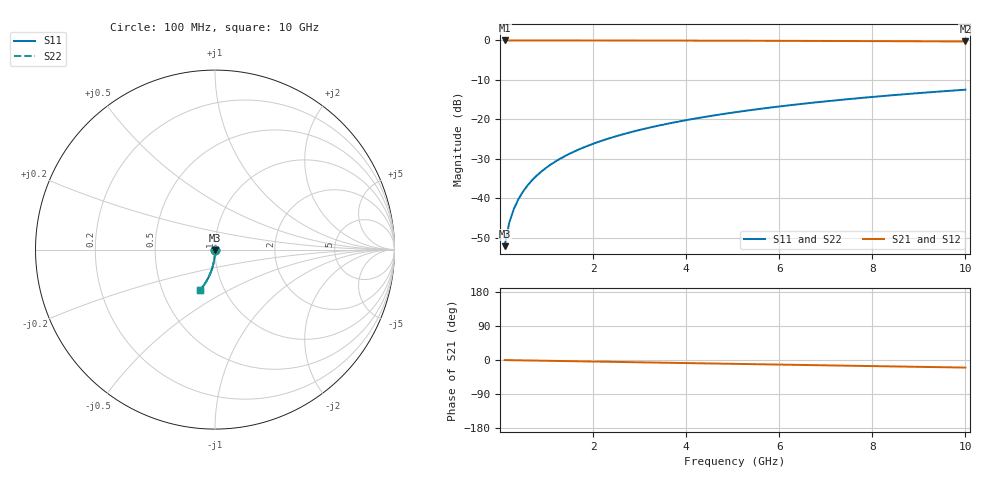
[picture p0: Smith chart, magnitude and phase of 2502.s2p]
# Hz S RI R 50.00
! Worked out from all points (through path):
!   100 points, 100 MHz to 10 GHz, reference 50 ohm
!   highest |S21| = 0.00 dB at 100 MHz (marker M1); lowest = -0.3 dB at 10 GHz (marker M2)
!   group delay of S21, straight-line fit = 5.56 ps
!   lowest |S11| = -52.2 dB at 100 MHz (marker M3), VSWR 1.00, Z = 50 - j0.245 ohm
!   |S11| at or under -10 dB: start of sweep to end of sweep
!   |S22| runs from -52.2 to -12.5 dB; largest |S21 - S12| = 0
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1e8  0.000287 -0.00245  0.9997 -0.00353  0.9997 -0.00353  0.000287 -0.00245
2e8  0.00026 -0.0049  0.9997 -0.00706  0.9997 -0.00706  0.00026 -0.0049
3e8  0.000216 -0.00735  0.9996 -0.0106  0.9996 -0.0106  0.000216 -0.00735
4e8  0.000154 -0.0098  0.9995 -0.0141  0.9995 -0.0141  0.000154 -0.0098
5e8  7.39e-05 -0.0123  0.9994 -0.0176  0.9994 -0.0176  7.39e-05 -0.0123
6e8  -2.32e-05 -0.0147  0.9993 -0.0212  0.9993 -0.0212  -2.32e-05 -0.0147
7e8  -0.000138 -0.0171  0.9992 -0.0247  0.9992 -0.0247  -0.000138 -0.0171
8e8  -0.000269 -0.0196  0.9991 -0.0282  0.9991 -0.0282  -0.000269 -0.0196
9e8  -0.000418 -0.022  0.9989 -0.0317  0.9989 -0.0317  -0.000418 -0.022
1.1e9  -0.000768 -0.0269  0.9985 -0.0388  0.9985 -0.0388  -0.000768 -0.0269
1.4e9  -0.00142 -0.0343  0.9978 -0.0494  0.9978 -0.0494  -0.00142 -0.0343
1.8e9  -0.00254 -0.044  0.9966 -0.0634  0.9966 -0.0634  -0.00254 -0.044
2.1e9  -0.00355 -0.0513  0.9956 -0.0739  0.9956 -0.0739  -0.00355 -0.0513
2.5e9  -0.00514 -0.0609  0.9939 -0.0879  0.9939 -0.0879  -0.00514 -0.0609
2.9e9  -0.00701 -0.0706  0.9919 -0.1019  0.9919 -0.1019  -0.00701 -0.0706
3.4e9  -0.00972 -0.0825  0.989 -0.1192  0.989 -0.1192  -0.00972 -0.0825
4.2e9  -0.0149 -0.1013  0.9834 -0.1467  0.9834 -0.1467  -0.0149 -0.1013
5.1e9  -0.022 -0.1221  0.9758 -0.1772  0.9758 -0.1772  -0.022 -0.1221
5.9e9  -0.0293 -0.1401  0.9679 -0.2039  0.9679 -0.2039  -0.0293 -0.1401
6.7e9  -0.0377 -0.1576  0.959 -0.2301  0.959 -0.2301  -0.0377 -0.1576
8.4e9  -0.0583 -0.1928  0.9368 -0.284  0.9368 -0.284  -0.0583 -0.1928
1e10  -0.0811 -0.2231  0.9122 -0.3319  0.9122 -0.3319  -0.0811 -0.2231
